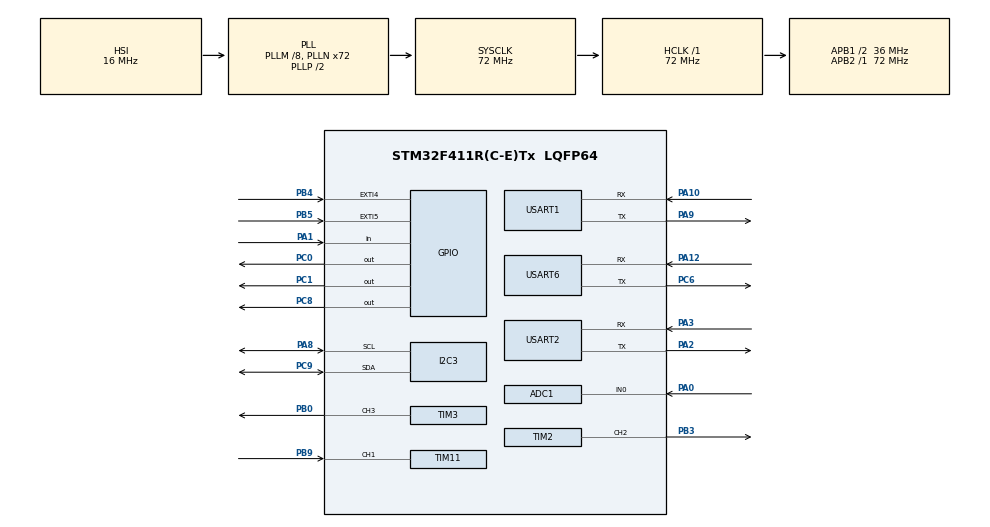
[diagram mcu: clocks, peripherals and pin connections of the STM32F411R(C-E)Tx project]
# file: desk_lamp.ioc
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ADC1.Channel-0\#ChannelRegularConversion=ADC_CHANNEL_0
ADC1.NbrOfConversionFlag=1
ADC1.Rank-0\#ChannelRegularConversion=1
ADC1.SamplingTime-0\#ChannelRegularConversion=ADC_SAMPLETIME_3CYCLES
ADC1.master=1
Dma.ADC1.0.Direction=DMA_PERIPH_TO_MEMORY
Dma.ADC1.0.FIFOMode=DMA_FIFOMODE_DISABLE
Dma.ADC1.0.Instance=DMA2_Stream0
Dma.ADC1.0.MemDataAlignment=DMA_MDATAALIGN_HALFWORD
Dma.ADC1.0.MemInc=DMA_MINC_ENABLE
Dma.ADC1.0.Mode=DMA_CIRCULAR
Dma.ADC1.0.PeriphDataAlignment=DMA_PDATAALIGN_HALFWORD
Dma.ADC1.0.PeriphInc=DMA_PINC_DISABLE
Dma.ADC1.0.Priority=DMA_PRIORITY_LOW
Dma.Request0=ADC1
FREERTOS.Tasks01=defaultTask,0,128,StartDefaultTask,Default,NULL,Dynamic,NULL,NULL;myTask02,-3,128,StartTask02,Default,NULL,Dynamic,NULL,NULL
Mcu.Family=STM32F4
Mcu.Name=STM32F411R(C-E)Tx
Mcu.Package=LQFP64
NVIC.DMA2_Stream0_IRQn=true\:5\:0\:false\:false\:true\:true\:false\:true\:true
NVIC.EXTI9_5_IRQn=true\:6\:0\:true\:false\:true\:true\:true\:true\:true
NVIC.PriorityGroup=NVIC_PRIORITYGROUP_4
NVIC.TIM2_IRQn=true\:9\:0\:true\:false\:true\:true\:true\:true\:true
NVIC.USART2_IRQn=true\:5\:0\:true\:false\:true\:true\:true\:true\:true
NVIC.USART6_IRQn=true\:7\:0\:true\:false\:true\:true\:true\:true\:true
PA0-WKUP.Signal=ADCx_IN0
PA1.Signal=GPIO_Input
PA10.Mode=Asynchronous
PA10.Signal=USART1_RX
PA12.Mode=Asynchronous
PA12.Signal=USART6_RX
PA13.Mode=Serial_Wire
PA13.Signal=SYS_JTMS-SWDIO
PA14.Mode=Serial_Wire
PA14.Signal=SYS_JTCK-SWCLK
PA2.Mode=Asynchronous
PA2.Signal=USART2_TX
PA3.Mode=Asynchronous
PA3.Signal=USART2_RX
PA8.Mode=I2C
PA8.Signal=I2C3_SCL
PA9.Mode=Asynchronous
PA9.Signal=USART1_TX
PB0.Signal=S_TIM3_CH3
PB3.Signal=S_TIM2_CH2
PB4.GPIO_ModeDefaultEXTI=GPIO_MODE_IT_FALLING
PB4.GPIO_PuPd=GPIO_PULLUP
PB4.Signal=GPXTI4
PB5.GPIO_ModeDefaultEXTI=GPIO_MODE_IT_FALLING
PB5.GPIO_PuPd=GPIO_PULLUP
PB5.Signal=GPXTI5
PB9.Signal=S_TIM11_CH1
PC0.Signal=GPIO_Output
PC1.Signal=GPIO_Output
PC6.Mode=Asynchronous
PC6.Signal=USART6_TX
PC8.PinState=GPIO_PIN_SET
PC8.Signal=GPIO_Output
PC9.Mode=I2C
PC9.Signal=I2C3_SDA
PH0\ -\ OSC_IN.Mode=HSE-External-Oscillator
PH0\ -\ OSC_IN.Signal=RCC_OSC_IN
PH1\ -\ OSC_OUT.Mode=HSE-External-Oscillator
PH1\ -\ OSC_OUT.Signal=RCC_OSC_OUT
ProjectManager.HeapSize=0x200
ProjectManager.StackSize=0x400
ProjectManager.TargetToolchain=MDK-ARM V5.32
RCC.48MHZClocksFreq_Value=36000000
RCC.AHBFreq_Value=72000000
RCC.APB1CLKDivider=RCC_HCLK_DIV2
RCC.APB1Freq_Value=36000000
RCC.APB1TimFreq_Value=72000000
RCC.APB2Freq_Value=72000000
RCC.APB2TimFreq_Value=72000000
RCC.CortexFreq_Value=72000000
RCC.HCLKFreq_Value=72000000
RCC.HSE_VALUE=25000000
RCC.HSI_VALUE=16000000
RCC.LSE_VALUE=32768
RCC.PLLM=8
RCC.PLLN=72
RCC.RCC_RTC_Clock_Source=RCC_RTCCLKSOURCE_LSI
RCC.RCC_RTC_Clock_SourceVirtual=RCC_RTCCLKSOURCE_LSI
RCC.SYSCLKFreq_VALUE=72000000
RCC.SYSCLKSource=RCC_SYSCLKSOURCE_PLLCLK
RCC.VCOOutputFreq_Value=144000000
SH.ADCx_IN0.0=ADC1_IN0,IN0
SH.S_TIM11_CH1.0=TIM11_CH1,Input_Capture1_from_TI1
SH.S_TIM2_CH2.0=TIM2_CH2,PWM Generation2 CH2
SH.S_TIM3_CH3.0=TIM3_CH3,PWM Generation3 CH3
TIM11.Channel=TIM_CHANNEL_1
TIM2.Channel-PWM\ Generation2\ CH2=TIM_CHANNEL_2
TIM2.Period=999
TIM2.Prescaler=7200-1
TIM3.AutoReloadPreload=TIM_AUTORELOAD_PRELOAD_ENABLE
TIM3.Channel-PWM\ Generation2\ No\ Output=TIM_CHANNEL_2
TIM3.Channel-PWM\ Generation3\ CH3=TIM_CHANNEL_3
TIM3.Period=999
TIM3.Prescaler=71
TIM4.AutoReloadPreload=TIM_AUTORELOAD_PRELOAD_ENABLE
TIM4.Prescaler=99
USART1.VirtualMode=VM_ASYNC
USART2.VirtualMode=VM_ASYNC
USART6.VirtualMode=VM_ASYNC
VP_FREERTOS_VS_CMSIS_V1.Mode=CMSIS_V1
VP_IWDG_VS_IWDG.Mode=IWDG_Activate
VP_RTC_VS_RTC_Activate.Mode=RTC_Enabled
VP_RTC_VS_RTC_Calendar.Mode=RTC_Calendar
VP_TIM11_VS_ClockSourceINT.Mode=Enable_Timer
VP_TIM2_VS_ClockSourceINT.Mode=Internal
VP_TIM3_VS_ClockSourceINT.Mode=Internal
VP_TIM3_VS_no_output2.Mode=PWM Generation2 No Output
VP_TIM4_VS_ClockSourceINT.Mode=Internal
board=custom

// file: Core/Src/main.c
/* USER CODE BEGIN Header */
/**
 ******************************************************************************
 * @file           : main.c
 * @brief          : Main program body
 ******************************************************************************
 * @attention
 *
 * Copyright (c) 2025 STMicroelectronics.
 * All rights reserved.
 *
 * This software is licensed under terms that can be found in the LICENSE file
 * in the root directory of this software component.
 * If no LICENSE file comes with this software, it is provided AS-IS.
 *
 ******************************************************************************
 */
/* USER CODE END Header */
#include "main.h"
#include "cmsis_os.h"
#include "adc.h"
#include "dma.h"
#include "i2c.h"
#include "iwdg.h"
#include "rtc.h"
#include "tim.h"
#include "usart.h"
#include "gpio.h"

void SystemClock_Config(void);
void MX_FREERTOS_Init(void);

int main(void)
{

  /* MCU Configuration--------------------------------------------------------*/

  /* Reset of all peripherals, Initializes the Flash interface and the Systick. */
  HAL_Init();

  /* Configure the system clock */
  SystemClock_Config();

  /* Initialize all configured peripherals */
  MX_GPIO_Init();
  MX_DMA_Init();
  MX_ADC1_Init();
  MX_USART1_UART_Init();
  MX_USART2_UART_Init();
  MX_USART6_UART_Init();
  MX_TIM4_Init();
  MX_TIM2_Init();
  MX_TIM3_Init();
  MX_IWDG_Init();
  MX_I2C3_Init();
  MX_RTC_Init();
  MX_TIM11_Init();

  /* Call init function for freertos objects (in cmsis_os2.c) */
  MX_FREERTOS_Init();

  /* Start scheduler */
  osKernelStart();

  /* We should never get here as control is now taken by the scheduler */

  /* Infinite loop */
  while (1)
  {

  }
}

void SystemClock_Config(void)
{
  RCC_OscInitTypeDef RCC_OscInitStruct = {0};
  RCC_ClkInitTypeDef RCC_ClkInitStruct = {0};

  /** Configure the main internal regulator output voltage
  */
  __HAL_RCC_PWR_CLK_ENABLE();
  __HAL_PWR_VOLTAGESCALING_CONFIG(PWR_REGULATOR_VOLTAGE_SCALE1);

  /** Initializes the RCC Oscillators according to the specified parameters
  * in the RCC_OscInitTypeDef structure.
  */
  RCC_OscInitStruct.OscillatorType = RCC_OSCILLATORTYPE_HSI|RCC_OSCILLATORTYPE_LSI
                              |RCC_OSCILLATORTYPE_HSE;
  RCC_OscInitStruct.HSEState = RCC_HSE_ON;
  RCC_OscInitStruct.HSIState = RCC_HSI_ON;
  RCC_OscInitStruct.HSICalibrationValue = RCC_HSICALIBRATION_DEFAULT;
  RCC_OscInitStruct.LSIState = RCC_LSI_ON;
  RCC_OscInitStruct.PLL.PLLState = RCC_PLL_ON;
  RCC_OscInitStruct.PLL.PLLSource = RCC_PLLSOURCE_HSI;
  RCC_OscInitStruct.PLL.PLLM = 8;
  RCC_OscInitStruct.PLL.PLLN = 72;
  RCC_OscInitStruct.PLL.PLLP = RCC_PLLP_DIV2;
  RCC_OscInitStruct.PLL.PLLQ = 4;
  if (HAL_RCC_OscConfig(&RCC_OscInitStruct) != HAL_OK)
  {
    Error_Handler();
  }

  /** Initializes the CPU, AHB and APB buses clocks
  */
  RCC_ClkInitStruct.ClockType = RCC_CLOCKTYPE_HCLK|RCC_CLOCKTYPE_SYSCLK
                              |RCC_CLOCKTYPE_PCLK1|RCC_CLOCKTYPE_PCLK2;
  RCC_ClkInitStruct.SYSCLKSource = RCC_SYSCLKSOURCE_PLLCLK;
  RCC_ClkInitStruct.AHBCLKDivider = RCC_SYSCLK_DIV1;
  RCC_ClkInitStruct.APB1CLKDivider = RCC_HCLK_DIV2;
  RCC_ClkInitStruct.APB2CLKDivider = RCC_HCLK_DIV1;

  if (HAL_RCC_ClockConfig(&RCC_ClkInitStruct, FLASH_LATENCY_2) != HAL_OK)
  {
    Error_Handler();
  }
}

void Error_Handler(void)
{
  __disable_irq();
  while (1)
  {
  }
}

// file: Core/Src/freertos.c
/* USER CODE BEGIN Header */
/**
 ******************************************************************************
 * File Name          : freertos.c
 * Description        : Code for freertos applications
 ******************************************************************************
 * @attention
 *
 * Copyright (c) 2025 STMicroelectronics.
 * All rights reserved.
 *
 * This software is licensed under terms that can be found in the LICENSE file
 * in the root directory of this software component.
 * If no LICENSE file comes with this software, it is provided AS-IS.
 *
 ******************************************************************************
 */
/* USER CODE END Header */

#include "FreeRTOS.h"
#include "task.h"
#include "main.h"
#include "cmsis_os.h"

/* USER CODE BEGIN Includes */
#include "main.h"
#include "cmsis_os.h"
#include "adc.h"
#include "dma.h"
#include "iwdg.h"
#include "tim.h"
#include "usart.h"
#include "gpio.h"
#include "delay.h"
#include "DHT11.h"
#include "oled.h"
#include "stdio.h"
#include "hal_key.h"
#include "gizwits_product.h"
#include "common.h"
#include "atgm336h.h"
/* USER CODE END Includes */

/* USER CODE BEGIN PTD */
#define GPIO_KEY_NUM 2                ///< Defines the total number of key member
keyTypedef_t singleKey[GPIO_KEY_NUM]; ///< Defines a single key member array pointer
keysTypedef_t keys;
uint8_t temp = 0;
uint8_t humi = 0;
uint16_t adc_value = 0;
uint16_t distance = 0;
float latitude = 0.0f;
float longitude = 0.0f;
int temp_threshold = 30; // 30 degrees Celsius
/* USER CODE END PTD */

/* USER CODE BEGIN PM */
void HAL_GPIO_EXTI_Callback(uint16_t GPIO_Pin)
{
  if (GPIO_Pin == GPIO_PIN_4) // 假设你的按键接在PC13
  {
    if (HAL_GPIO_ReadPin(GPIOC, GPIO_PIN_4) == GPIO_PIN_RESET) // 检测按键是否被按下
    {
      temp_threshold += 1;
    }
  }
  else if (GPIO_Pin == GPIO_PIN_5) // 假设你的按键接在PC14
  {
    if (HAL_GPIO_ReadPin(GPIOC, GPIO_PIN_5) == GPIO_PIN_RESET) // 检测按键是否被按下
    {
      temp_threshold -= 1;
    }
  }
}

/* USER CODE END PM */

osThreadId defaultTaskHandle;
osThreadId myTask02Handle;

void StartDefaultTask(void const *argument);
void StartTask02(void const *argument);

void MX_FREERTOS_Init(void); /* (MISRA C 2004 rule 8.1) */

/* GetIdleTaskMemory prototype (linked to static allocation support) */
void vApplicationGetIdleTaskMemory(StaticTask_t **ppxIdleTaskTCBBuffer, StackType_t **ppxIdleTaskStackBuffer, uint32_t *pulIdleTaskStackSize);

/* USER CODE BEGIN GET_IDLE_TASK_MEMORY */
static StaticTask_t xIdleTaskTCBBuffer;
static StackType_t xIdleStack[configMINIMAL_STACK_SIZE];

void vApplicationGetIdleTaskMemory(StaticTask_t **ppxIdleTaskTCBBuffer, StackType_t **ppxIdleTaskStackBuffer, uint32_t *pulIdleTaskStackSize)
{
  *ppxIdleTaskTCBBuffer = &xIdleTaskTCBBuffer;
  *ppxIdleTaskStackBuffer = &xIdleStack[0];
  *pulIdleTaskStackSize = configMINIMAL_STACK_SIZE;
  /* place for user code */
}
/* USER CODE END GET_IDLE_TASK_MEMORY */

void MX_FREERTOS_Init(void)
{

  /* Create the thread(s) */
  /* definition and creation of defaultTask */
  osThreadDef(defaultTask, StartDefaultTask, osPriorityNormal, 0, 128);
  defaultTaskHandle = osThreadCreate(osThread(defaultTask), NULL);

  /* definition and creation of myTask02 */
  osThreadDef(myTask02, StartTask02, osPriorityIdle, 0, 128);
  myTask02Handle = osThreadCreate(osThread(myTask02), NULL);

}

void StartDefaultTask(void const *argument)
{
  /* USER CODE BEGIN StartDefaultTask */
  OLED_Init();
  DHT11_Init();
  HAL_ADC_Start(&hadc1);
  int sign = 0;
  timerInit();
  uartInit();
  userInit();
  gizwitsInit();
  atgm336h_init();
  HAL_TIM_PWM_Start(&htim3, TIM_CHANNEL_3); // Start PWM for LED control
  HAL_TIM_PWM_Start(&htim2, TIM_CHANNEL_2); // Start PWM for PB3 software PWM

  /* Infinite loop */
  for (;;)
  {
    parseGpsBuffer();
    if (Save_Data.isParseData)
    {
      Save_Data.isParseData = false;
      if (Save_Data.isUsefull)
      {
        Save_Data.isUsefull = false;
        latitude = g_LatAndLongData.latitude;
        longitude = g_LatAndLongData.longitude;
      }
    }
    userHandle();
    gizwitsHandle((dataPoint_t *)&currentDataPoint);

    HAL_ADC_Start(&hadc1);
    HAL_ADC_PollForConversion(&hadc1, 10);
    adc_value = HAL_ADC_GetValue(&hadc1);

    uint8_t cmd = 0x55;
    HAL_UART_Transmit(&huart1, &cmd, 1, 100);
    uint8_t rx_buf[2] = {0};
    if (HAL_UART_Receive(&huart1, rx_buf, 2, 100) == HAL_OK)
    {
      distance = rx_buf[0] * 256 + rx_buf[1];
    }
    else
    {
      distance = 0xFFFF;
    }
    distance = rx_buf[0] * 256 + rx_buf[1];
    if (distance < 100)
    {
      if (sign == 0)
      {
        HAL_GPIO_WritePin(GPIOC, GPIO_PIN_8, GPIO_PIN_RESET);
        sign = 1;
        delay_ms(50);
        HAL_GPIO_WritePin(GPIOC, GPIO_PIN_8, GPIO_PIN_SET);
      }
    }
    else
    {
      HAL_GPIO_WritePin(GPIOC, GPIO_PIN_8, GPIO_PIN_SET);
      sign = 0;
    }
    DHT11_Read_Data(&temp, &humi);
    if (temp > temp_threshold)
    {
      HAL_GPIO_WritePin(GPIOC, GPIO_PIN_5, GPIO_PIN_RESET); // Turn on the buzzer
    }
    else
    {
      HAL_GPIO_WritePin(GPIOC, GPIO_PIN_5, GPIO_PIN_SET); // Turn off the buzzer
    }
    char buffer[50];
    sprintf(buffer, "Dist: %dmm  ", distance);
    OLED_ShowString(0, 16, buffer, 12);
    sprintf(buffer, "ADC: %d  ", adc_value);
    OLED_ShowString(0, 0, buffer, 12);
    sprintf(buffer, "Temp_Thre: %dC  ", temp_threshold);
    OLED_ShowString(0, 32, buffer, 12);
    OLED_Refresh();
    // 光照值转化为LED亮度（假设adc_value范围0~4095，PWM最大值为999）
    uint16_t led_pwm = 0;
    if (adc_value <= 500)
    {
      led_pwm = 0; // 灯不亮
    }
    else if (adc_value >= 3000)
    {
      led_pwm = 999; // 最大亮度
    }
    else
    {
      led_pwm = (adc_value - 500) * 999 / (3000 - 500); // 线性映射
    }
    __HAL_TIM_SET_COMPARE(&htim3, TIM_CHANNEL_3, led_pwm); // 设置LED亮度
    __HAL_TIM_SET_COMPARE(&htim2, TIM_CHANNEL_2, led_pwm); // 设置PB3的PWM占空比
    HAL_IWDG_Init(&hiwdg);
    osDelay(1);
  }
  /* USER CODE END StartDefaultTask */
}

void StartTask02(void const *argument)
{
  /* USER CODE BEGIN StartTask02 */
  /* Infinite loop */
  for (;;)
  {
    if (HAL_GPIO_ReadPin(GPIOB, GPIO_PIN_4) == GPIO_PIN_RESET)
    {
      temp_threshold++;
    }
    else if (HAL_GPIO_ReadPin(GPIOB, GPIO_PIN_5) == GPIO_PIN_RESET)
    {
      temp_threshold--;
    }
    osDelay(1);
  }
  /* USER CODE END StartTask02 */
}
